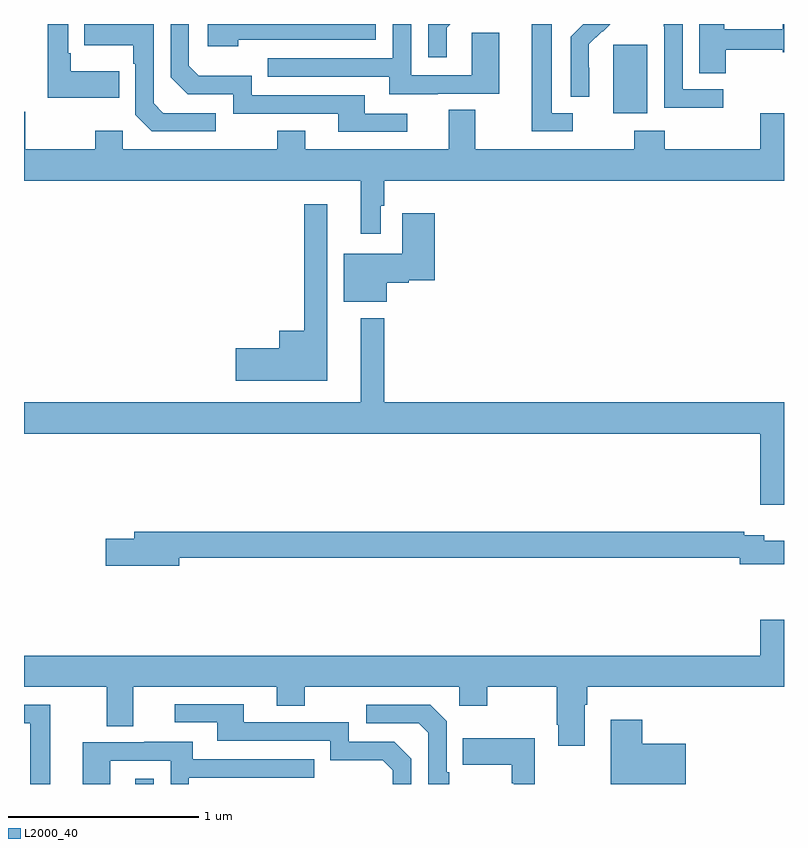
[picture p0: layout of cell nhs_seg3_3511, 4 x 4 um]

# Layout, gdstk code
import gdstk
lib = gdstk.Library(unit=1e-6, precision=1e-09)
def R(c, l, rs):  # rectangles x0, y0, x1, y1
    for r in rs: c.add(gdstk.rectangle(r[:2], r[2:], *l))
def P(c, l, *ps):  # polygons
    for p in ps: c.add(gdstk.Polygon(p, *l))
L2000_40 = (2000, 40)

nhs_seg3_3511 = lib.new_cell('nhs_seg3_3511')
R(nhs_seg3_3511, L2000_40, [(293.585,704.4,293.682,704.428), (296.102,707.93,296.281,708.291)])
P(nhs_seg3_3511, L2000_40, [(295.888,707.931),(295.777,707.931),(295.777,708.4),(295.673,708.4),(295.673,707.835),(295.888,707.835)],
  [(295.018,707.928),(294.793,707.928),(294.793,708.024),(294.198,708.024),(294.198,708.127),(293.921,708.127),(293.868,708.18),(293.868,708.4),(293.772,708.4),(293.772,708.12),(293.862,708.03),(294.102,708.03),(294.102,707.928),(294.653,707.928),(294.653,707.832),(295.018,707.832)],
  [(295.177,708.033),(295.501,708.033),(295.501,708.353),(295.356,708.353),(295.356,708.129),(295.038,708.129),(295.038,708.4),(294.942,708.4),(294.942,708.219),(294.283,708.219),(294.283,708.123),(294.923,708.123),(294.923,708.029),(295.177,708.029)],
  [(295.225,708.381),(295.244,708.4),(295.128,708.4),(295.128,708.225),(295.225,708.225)],
  [(294.01,707.931),(293.733,707.931),(293.682,707.982),(293.682,708.4),(293.317,708.4),(293.317,708.287),(293.574,708.287),(293.574,708.191),(293.586,708.191),(293.586,707.922),(293.673,707.835),(294.01,707.835)],
  [(293.501,708.151),(293.245,708.151),(293.245,708.247),(293.232,708.247),(293.232,708.4),(293.124,708.4),(293.124,708.011),(293.501,708.011)],
  [(296.68,708.057),(296.466,708.057),(296.466,708.4),(296.368,708.4),(296.368,708.388),(296.37,708.388),(296.37,707.959),(296.68,707.959)],
  [(296.694,708.264),(296.994,708.264),(296.994,708.251),(297,708.251),(297,708.398),(296.994,708.398),(296.994,708.373),(296.686,708.373),(296.686,708.4),(296.555,708.4),(296.555,708.142),(296.694,708.142)],
  [(294.128,708.318),(294.852,708.318),(294.852,708.4),(293.967,708.4),(293.967,708.284),(294.128,708.284)],
  [(295.974,708.17),(295.973,708.17),(295.973,708.293),(296.043,708.363),(296.046,708.36),(296.086,708.4),(295.944,708.4),(295.878,708.334),(295.878,708.016),(295.974,708.016)],
  [(294.877,707.444),(294.895,707.444),(294.895,707.576),(297,707.576),(297,707.929),(296.876,707.929),(296.876,707.74),(296.372,707.74),(296.372,707.839),(296.212,707.839),(296.212,707.74),(295.375,707.74),(295.375,707.948),(295.235,707.948),(295.235,707.74),(294.481,707.74),(294.481,707.839),(294.334,707.839),(294.334,707.74),(293.52,707.74),(293.52,707.839),(293.374,707.839),(293.374,707.74),(293.007,707.74),(293.007,707.939),(293,707.939),(293,707.576),(294.773,707.576),(294.773,707.295),(294.877,707.295)],
  [(294.595,707.452),(294.474,707.452),(294.474,706.786),(294.344,706.786),(294.344,706.694),(294.114,706.694),(294.114,706.523),(294.595,706.523)],
  [(294.91,707.039),(295.026,707.039),(295.026,707.051),(295.163,707.051),(295.163,707.404),(294.992,707.404),(294.992,707.191),(294.683,707.191),(294.683,706.937),(294.91,706.937)],
  [(297,706.408),(294.895,706.408),(294.895,706.852),(294.773,706.852),(294.773,706.408),(293,706.408),(293,706.244),(296.876,706.244),(296.876,705.87),(297,705.87)],
  [(293.818,705.592),(296.768,705.592),(296.768,705.557),(297,705.557),(297,705.679),(296.896,705.679),(296.896,705.708),(296.792,705.708),(296.792,705.728),(293.579,705.728),(293.579,705.692),(293.43,705.692),(293.43,705.55),(293.818,705.55)],
  [(295.951,704.816),(295.964,704.816),(295.964,704.912),(297,704.912),(297,705.265),(296.876,705.265),(296.876,705.076),(293,705.076),(293,704.912),(293.435,704.912),(293.435,704.704),(293.575,704.704),(293.575,704.912),(294.329,704.912),(294.329,704.813),(294.477,704.813),(294.477,704.912),(295.29,704.912),(295.29,704.813),(295.437,704.813),(295.437,704.912),(295.804,704.912),(295.804,704.713),(295.811,704.713),(295.811,704.601),(295.951,704.601)],
  [(295.038,704.532),(294.948,704.622),(294.708,704.622),(294.708,704.724),(294.157,704.724),(294.157,704.82),(293.793,704.82),(293.793,704.724),(294.017,704.724),(294.017,704.628),(294.612,704.628),(294.612,704.525),(294.889,704.525),(294.942,704.472),(294.942,704.4),(295.038,704.4)],
  [(293.137,704.817),(293,704.817),(293,704.721),(293.033,704.721),(293.033,704.4),(293.137,704.4)],
  [(295.237,704.461),(295.224,704.461),(295.224,704.73),(295.137,704.817),(294.801,704.817),(294.801,704.721),(295.077,704.721),(295.128,704.67),(295.128,704.4),(295.237,704.4)],
  [(296.482,704.611),(296.255,704.611),(296.255,704.737),(296.087,704.737),(296.087,704.4),(296.482,704.4)],
  [(295.687,704.641),(295.309,704.641),(295.309,704.501),(295.566,704.501),(295.566,704.405),(295.578,704.405),(295.578,704.4),(295.687,704.4)],
  [(293.454,704.523),(293.772,704.523),(293.772,704.4),(293.868,704.4),(293.868,704.433),(294.527,704.433),(294.527,704.529),(293.887,704.529),(293.887,704.623),(293.633,704.623),(293.633,704.619),(293.309,704.619),(293.309,704.4),(293.454,704.4)])

lib.write_gds('nhs_seg3_3511.gds')
